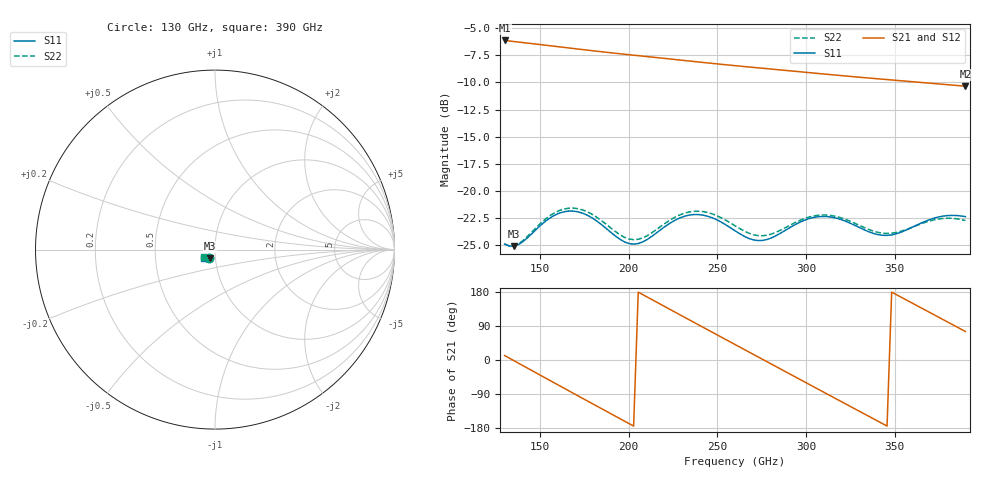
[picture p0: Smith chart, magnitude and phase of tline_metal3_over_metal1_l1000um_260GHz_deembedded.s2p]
! Created with skrf 2.2.0 (http://scikit-rf.org).
# GHz S DB R 50.0
! Port[1] = P1
! Port[2] = P2
!freq dBS11 angS11 dBS21 angS21 dBS12 angS12 dBS22 angS22
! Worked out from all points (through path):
!   101 points, 130 GHz to 390 GHz, reference 50 ohm
!   highest |S21| = -6.13 dB at 130 GHz (marker M1); lowest = -10.3 dB at 390 GHz (marker M2)
!   group delay of S21, straight-line fit = 7.01 ps
!   lowest |S11| = -25.1 dB at 135.2 GHz (marker M3), VSWR 1.12, Z = 47 - j4.47 ohm
!   |S11| at or under -10 dB: start of sweep to end of sweep
!   |S22| runs from -25.1 to -21.6 dB; largest |S21 - S12| = 5.7e-14
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130  -24.92 -127.4  -6.13 11.8  -6.13 11.8  -24.91 -126.2
135.2  -25.11 -121.2  -6.23 -1.6  -6.23 -1.6  -25.07 -119.6
145.6  -23.92 -113.8  -6.42 -28.4  -6.42 -28.4  -23.77 -112.0
156  -22.47 -117.4  -6.62 -55.1  -6.62 -55.1  -22.25 -115.7
166.4  -21.87 -126.4  -6.82 -81.7  -6.82 -81.7  -21.61 -125.0
174.2  -22.08 -133.6  -6.97 -101.7  -6.97 -101.7  -21.78 -132.2
187.2  -23.46 -140.5  -7.21 -134.8  -7.21 -134.8  -23.08 -139.4
197.6  -24.71 -137.1  -7.40 -161.2  -7.40 -161.2  -24.29 -136.7
208  -24.71 -128.4  -7.58 172.4  -7.58 172.4  -24.34 -128.7
218.4  -23.55 -125.1  -7.75 146.0  -7.75 146.0  -23.25 -125.4
228.8  -22.51 -129.1  -7.93 119.7  -7.93 119.7  -22.23 -129.1
239.2  -22.19 -136.3  -8.11 93.4  -8.11 93.4  -21.88 -136.2
249.6  -22.67 -142.9  -8.28 67.1  -8.28 67.1  -22.29 -142.8
260  -23.69 -145.1  -8.45 40.9  -8.45 40.9  -23.23 -145.5
270.4  -24.53 -140.8  -8.61 14.8  -8.61 14.8  -24.06 -142.2
280.8  -24.33 -133.9  -8.77 -11.4  -8.77 -11.4  -23.98 -136.2
304.2  -22.47 -136.2  -9.13 -70.2  -9.13 -70.2  -22.33 -138.0
322.4  -22.81 -145.0  -9.41 -115.8  -9.41 -115.8  -22.64 -146.4
335.4  -23.78 -145.0  -9.59 -148.4  -9.59 -148.4  -23.56 -146.9
348.4  -24.07 -138.8  -9.77 179.1  -9.77 179.1  -23.92 -141.6
371.8  -22.55 -136.8  -10.10 120.6  -10.10 120.6  -22.70 -139.8
390  -22.39 -143.8  -10.35 75.3  -10.35 75.3  -22.75 -146.2
